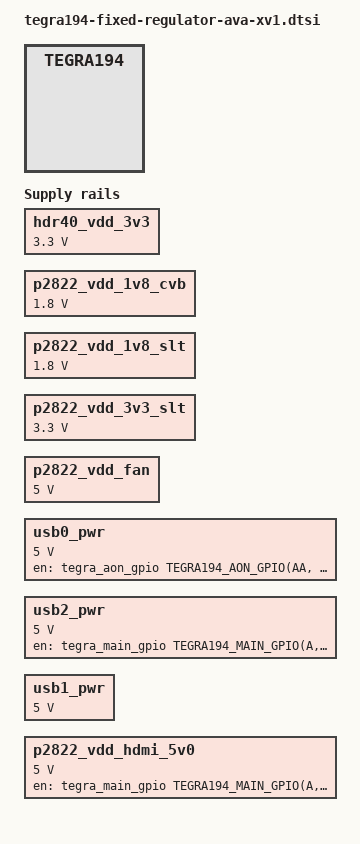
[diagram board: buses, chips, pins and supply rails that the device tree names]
/*
 * Copyright (c) 2017-2018, NVIDIA CORPORATION.  All rights reserved.
 *
 * This program is free software; you can redistribute it and/or modify
 * it under the terms of the GNU General Public License as published by
 * the Free Software Foundation; either version 2 of the License, or
 * (at your option) any later version.
 *
 * This program is distributed in the hope that it will be useful, but WITHOUT
 * ANY WARRANTY; without even the implied warranty of MERCHANTABILITY or
 * FITNESS FOR A PARTICULAR PURPOSE.  See the GNU General Public License for
 * more details.
 */

#include <dt-bindings/gpio/tegra194-gpio.h>

/ {
	fixed-regulators {
		hdr40_vdd_3v3: p2822_vdd_3v3_cvb: regulator@101 {
			compatible = "regulator-fixed";
			reg = <101>;
			regulator-name = "vdd-3v3-cvb";
			regulator-min-microvolt = <3300000>;
			regulator-max-microvolt = <3300000>;
		};

		p2822_vdd_1v8_cvb: regulator@102 {
			compatible = "regulator-fixed";
			reg = <102>;
			regulator-name = "vdd-1v8-cvb";
			regulator-min-microvolt = <1800000>;
			regulator-max-microvolt = <1800000>;
		};

		p2822_vdd_1v8_slt: regulator@105 {
			compatible = "regulator-fixed";
			reg = <105>;
			regulator-name = "vdd-1v8-slt";
			regulator-min-microvolt = <1800000>;
			regulator-max-microvolt = <1800000>;
		};

		p2822_vdd_3v3_slt: regulator@106 {
			compatible = "regulator-fixed";
			reg = <106>;
			regulator-name = "vdd-3v3-slt";
			regulator-min-microvolt = <3300000>;
			regulator-max-microvolt = <3300000>;
		};

		p2822_vdd_fan: regulator@107 {
			compatible = "regulator-fixed";
			reg = <107>;
			regulator-name = "vdd-fan";
			regulator-min-microvolt = <5000000>;
			regulator-max-microvolt = <5000000>;
		};

		usb0_pwr: regulator@108 {
			compatible = "regulator-fixed";
			reg = <108>;
			regulator-name = "vdd-5v-usb0";
			regulator-min-microvolt = <5000000>;
			regulator-max-microvolt = <5000000>;
			gpio = <&tegra_aon_gpio TEGRA194_AON_GPIO(AA, 6) 0>;
			enable-active-high;
		};

		usb2_pwr: regulator@109 {
			compatible = "regulator-fixed";
			reg = <109>;
			regulator-name = "vdd-5v-usb2";
			regulator-min-microvolt = <5000000>;
			regulator-max-microvolt = <5000000>;
			gpio = <&tegra_main_gpio TEGRA194_MAIN_GPIO(A, 1) 0>;
			enable-active-high;
		};

		usb1_pwr: regulator@110 {
			compatible = "regulator-fixed";
			reg = <110>;
			regulator-name = "vdd-5v-usb1";
			regulator-min-microvolt = <5000000>;
			regulator-max-microvolt = <5000000>;
		};

		p2822_vdd_hdmi_5v0: regulator@111 {
			compatible = "regulator-fixed";
			reg = <111>;
			regulator-name = "vdd-hdmi-5v0";
			regulator-min-microvolt = <5000000>;
			regulator-max-microvolt = <5000000>;
			gpio = <&tegra_main_gpio TEGRA194_MAIN_GPIO(A, 3) 0>;
			enable-active-high;
		};

/*
		p2822_vdd_sys_en: regulator@112 {
			compatible = "regulator-fixed";
			reg = <113>;
			regulator-name = "vdd_sys_en";
			regulator-min-microvolt = <1200000>;
			regulator-max-microvolt = <1200000>;
			gpio = <&tegra_main_gpio TEGRA194_MAIN_GPIO(M, 5) 0>;
			enable-active-high;
		};
*/
	};
};
